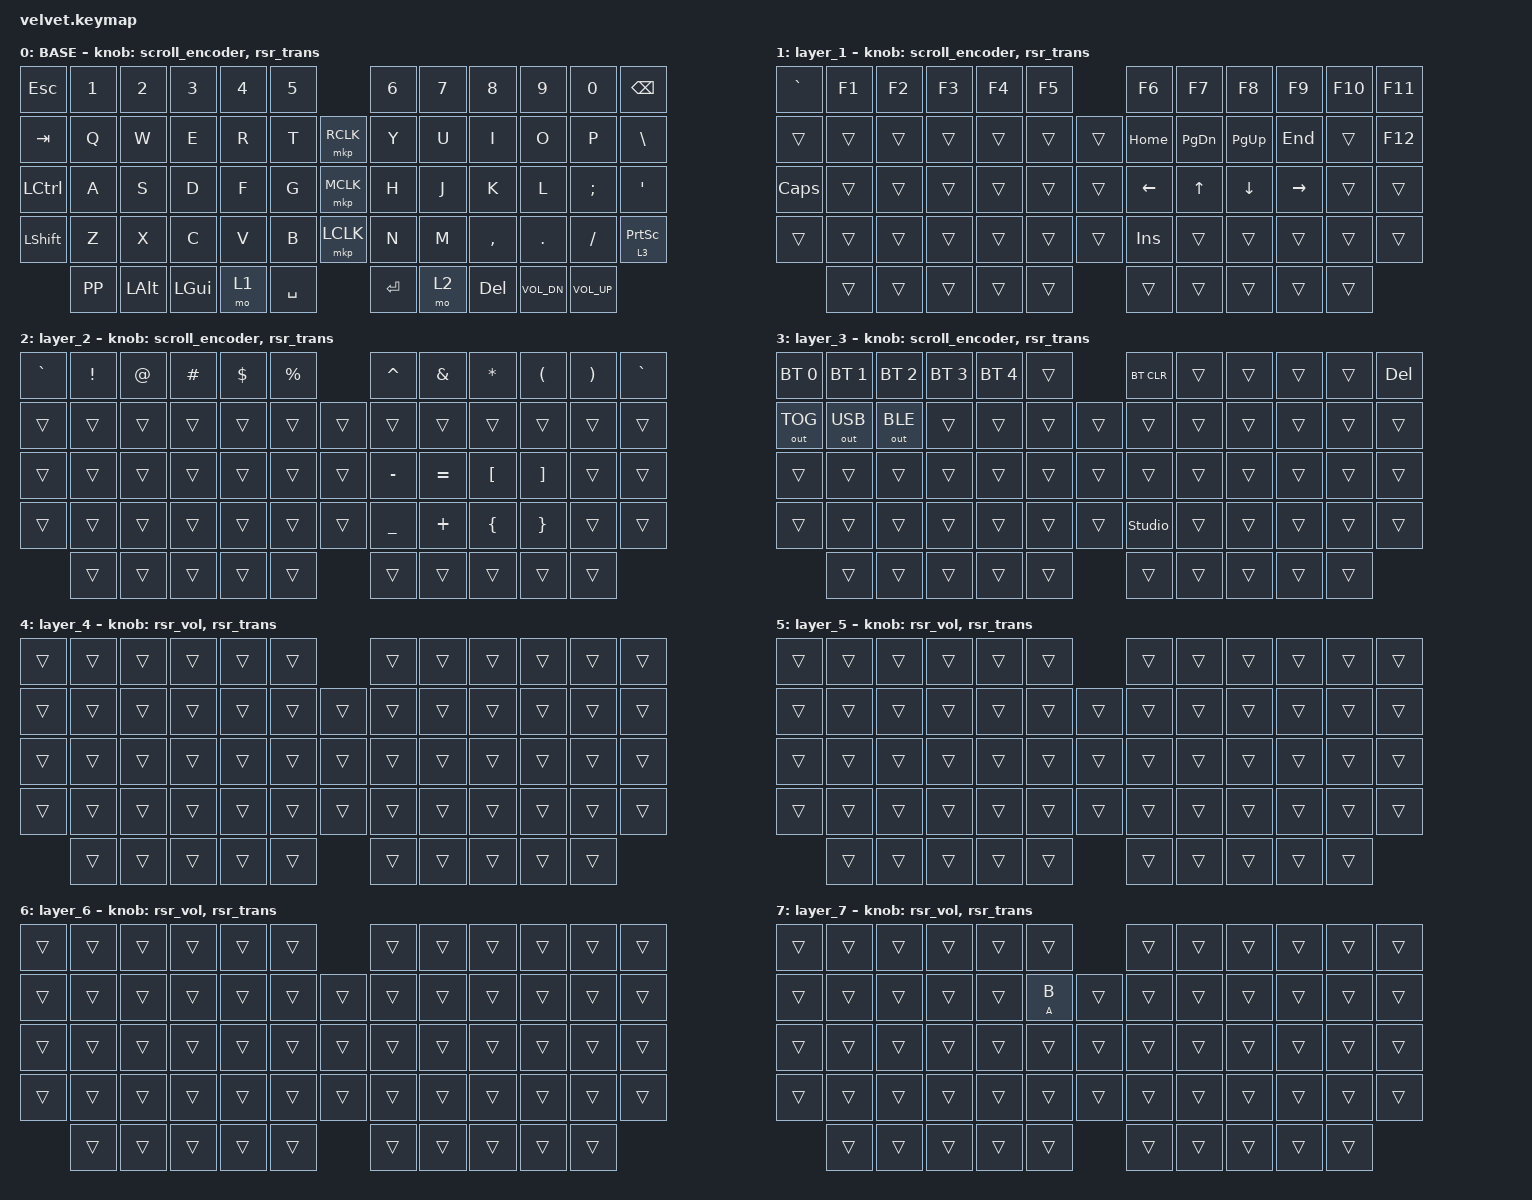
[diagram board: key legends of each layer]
#define BASE 0
#define LOWER 1
#define MOUSE_KEYS 2
#define MOUSE_TP 3
#define MOUSE_TP_SET 4

#include <zephyr/dt-bindings/input/input-event-codes.h>
#include <input/processors.dtsi>
#include <behaviors/runtime-sensor-rotate.dtsi>
#include <behaviors/runtime_macro.dtsi>
#include <behaviors.dtsi>
#include <dt-bindings/zmk/bt.h>
#include <dt-bindings/zmk/keys.h>
#include <dt-bindings/zmk/outputs.h>
#include <dt-bindings/zmk/pointing.h>

&mmv_input_listener { input-processors = <&zip_xy_scaler 2 1>; };

&msc_input_listener { input-processors = <&zip_scroll_scaler 2 1>; };

&msc {
    acceleration-exponent = <1>;      // 0
    time-to-max-speed-ms = <100>;       // 300
    delay-ms = <0>;                   // 0
};

&mmv {
    time-to-max-speed-ms = <500>;
    acceleration-exponent = <1>;
    trigger-period-ms = <16>;
};

/ {
    scroll_encoder: scroll_encoder {
        compatible = "zmk,behavior-sensor-rotate";
        #sensor-binding-cells = <0>;
        bindings = <&msc SCRL_UP>, <&msc SCRL_DOWN>;

        tap-ms = <100>;
    };

    behaviors {
        ltq: ltq {
            compatible = "zmk,behavior-hold-tap";
            label = "LTQ";
            bindings = <&mo>, <&kp>;

            #binding-cells = <2>;
            tapping-term-ms = <200>;
            quick-tap-ms = <180>;
        };

        rsr_vol: rsr_vol {
            compatible = "zmk,behavior-runtime-sensor-rotate";
            #sensor-binding-cells = <0>;
            tap-ms = <5>;
            cw-binding = <&kp C_VOL_UP>;
            ccw-binding = <&kp C_VOL_DN>;
        };
    };

    combos {
        compatible = "zmk,combos";

        flash {
            bindings = <&bootloader>;
            key-positions = <0 11>;
        };
    };

    keymap {
        compatible = "zmk,keymap";

        BASE {
            bindings = <
&kp ESC    &kp N1    &kp N2    &kp N3    &kp N4  &kp N5                &kp NUMBER_6  &kp N7  &kp N8      &kp N9        &kp N0        &kp BACKSPACE
&kp TAB    &kp Q     &kp W     &kp E     &kp R   &kp T      &mkp RCLK  &kp Y         &kp U   &kp I       &kp O         &kp P         &kp BSLH
&kp LCTRL  &kp A     &kp S     &kp D     &kp F   &kp G      &mkp MCLK  &kp H         &kp J   &kp K       &kp L         &kp SEMI      &kp APOS
&kp LSHFT  &kp Z     &kp X     &kp C     &kp V   &kp B      &mkp LCLK  &kp N         &kp M   &kp COMMA   &kp PERIOD    &kp SLASH     &lt 3 PRINTSCREEN
           &kp K_PP  &kp LALT  &kp LGUI  &mo 1   &kp SPACE             &kp RETURN    &mo 2   &kp DELETE  &kp C_VOL_DN  &kp C_VOL_UP
            >;

            label = "BASE";
            sensor-bindings = <&scroll_encoder>, <&rsr_trans>;
        };

        layer_1 {
            bindings = <
&kp GRAVE     &kp F1  &kp F2  &kp F3  &kp F4  &kp F5          &kp F6    &kp F7     &kp F8     &kp F9     &kp F10  &kp F11
&trans        &trans  &trans  &trans  &trans  &trans  &trans  &kp HOME  &kp PG_DN  &kp PG_UP  &kp END    &trans   &kp F12
&kp CAPSLOCK  &trans  &trans  &trans  &trans  &trans  &trans  &kp LEFT  &kp UP     &kp DOWN   &kp RIGHT  &trans   &trans
&trans        &trans  &trans  &trans  &trans  &trans  &trans  &kp INS   &trans     &trans     &trans     &trans   &trans
              &trans  &trans  &trans  &trans  &trans          &trans    &trans     &trans     &trans     &trans
            >;

            sensor-bindings = <&scroll_encoder>, <&rsr_trans>;
        };

        layer_2 {
            bindings = <
&kp GRAVE  &kp EXCLAMATION  &kp AT_SIGN  &kp HASH  &kp DOLLAR  &kp PERCENT          &kp CARET       &kp AMPERSAND  &kp ASTERISK      &kp LEFT_PARENTHESIS  &kp RIGHT_PARENTHESIS  &kp GRAVE
&trans     &trans           &trans       &trans    &trans      &trans       &trans  &trans          &trans         &trans            &trans                &trans                 &trans
&trans     &trans           &trans       &trans    &trans      &trans       &trans  &kp MINUS       &kp EQUAL      &kp LEFT_BRACKET  &kp RIGHT_BRACKET     &trans                 &trans
&trans     &trans           &trans       &trans    &trans      &trans       &trans  &kp UNDERSCORE  &kp PLUS       &kp LEFT_BRACE    &kp RIGHT_BRACE       &trans                 &trans
           &trans           &trans       &trans    &trans      &trans               &trans          &trans         &trans            &trans                &trans
            >;

            sensor-bindings = <&scroll_encoder>, <&rsr_trans>;
        };

        layer_3 {
            bindings = <
&bt BT_SEL 0  &bt BT_SEL 1  &bt BT_SEL 2  &bt BT_SEL 3  &bt BT_SEL 4  &trans          &bt BT_CLR      &trans  &trans  &trans  &trans  &kp DELETE
&out OUT_TOG  &out OUT_USB  &out OUT_BLE  &trans        &trans        &trans  &trans  &trans          &trans  &trans  &trans  &trans  &trans
&trans        &trans        &trans        &trans        &trans        &trans  &trans  &trans          &trans  &trans  &trans  &trans  &trans
&trans        &trans        &trans        &trans        &trans        &trans  &trans  &studio_unlock  &trans  &trans  &trans  &trans  &trans
              &trans        &trans        &trans        &trans        &trans          &trans          &trans  &trans  &trans  &trans
            >;

            sensor-bindings = <&scroll_encoder>, <&rsr_trans>;
        };

        layer_4 {
            bindings = <
&trans  &trans  &trans  &trans  &trans  &trans          &trans  &trans  &trans  &trans  &trans  &trans
&trans  &trans  &trans  &trans  &trans  &trans  &trans  &trans  &trans  &trans  &trans  &trans  &trans
&trans  &trans  &trans  &trans  &trans  &trans  &trans  &trans  &trans  &trans  &trans  &trans  &trans
&trans  &trans  &trans  &trans  &trans  &trans  &trans  &trans  &trans  &trans  &trans  &trans  &trans
        &trans  &trans  &trans  &trans  &trans          &trans  &trans  &trans  &trans  &trans
            >;

            sensor-bindings = <&rsr_vol &rsr_trans>;
        };

        layer_5 {
            bindings = <
&trans  &trans  &trans  &trans  &trans  &trans          &trans  &trans  &trans  &trans  &trans  &trans
&trans  &trans  &trans  &trans  &trans  &trans  &trans  &trans  &trans  &trans  &trans  &trans  &trans
&trans  &trans  &trans  &trans  &trans  &trans  &trans  &trans  &trans  &trans  &trans  &trans  &trans
&trans  &trans  &trans  &trans  &trans  &trans  &trans  &trans  &trans  &trans  &trans  &trans  &trans
        &trans  &trans  &trans  &trans  &trans          &trans  &trans  &trans  &trans  &trans
            >;

            sensor-bindings = <&rsr_vol &rsr_trans>;
        };

        layer_6 {
            bindings = <
&trans  &trans  &trans  &trans  &trans  &trans          &trans  &trans  &trans  &trans  &trans  &trans
&trans  &trans  &trans  &trans  &trans  &trans  &trans  &trans  &trans  &trans  &trans  &trans  &trans
&trans  &trans  &trans  &trans  &trans  &trans  &trans  &trans  &trans  &trans  &trans  &trans  &trans
&trans  &trans  &trans  &trans  &trans  &trans  &trans  &trans  &trans  &trans  &trans  &trans  &trans
        &trans  &trans  &trans  &trans  &trans          &trans  &trans  &trans  &trans  &trans
            >;

            sensor-bindings = <&rsr_vol &rsr_trans>;
        };

        layer_7 {
            bindings = <
&trans  &trans  &trans  &trans  &trans  &trans           &trans  &trans  &trans  &trans  &trans  &trans
&trans  &trans  &trans  &trans  &trans  &mt A B  &trans  &trans  &trans  &trans  &trans  &trans  &trans
&trans  &trans  &trans  &trans  &trans  &trans   &trans  &trans  &trans  &trans  &trans  &trans  &trans
&trans  &trans  &trans  &trans  &trans  &trans   &trans  &trans  &trans  &trans  &trans  &trans  &trans
        &trans  &trans  &trans  &trans  &trans           &trans  &trans  &trans  &trans  &trans
            >;

            sensor-bindings = <&rsr_vol &rsr_trans>;
        };
    };
};
